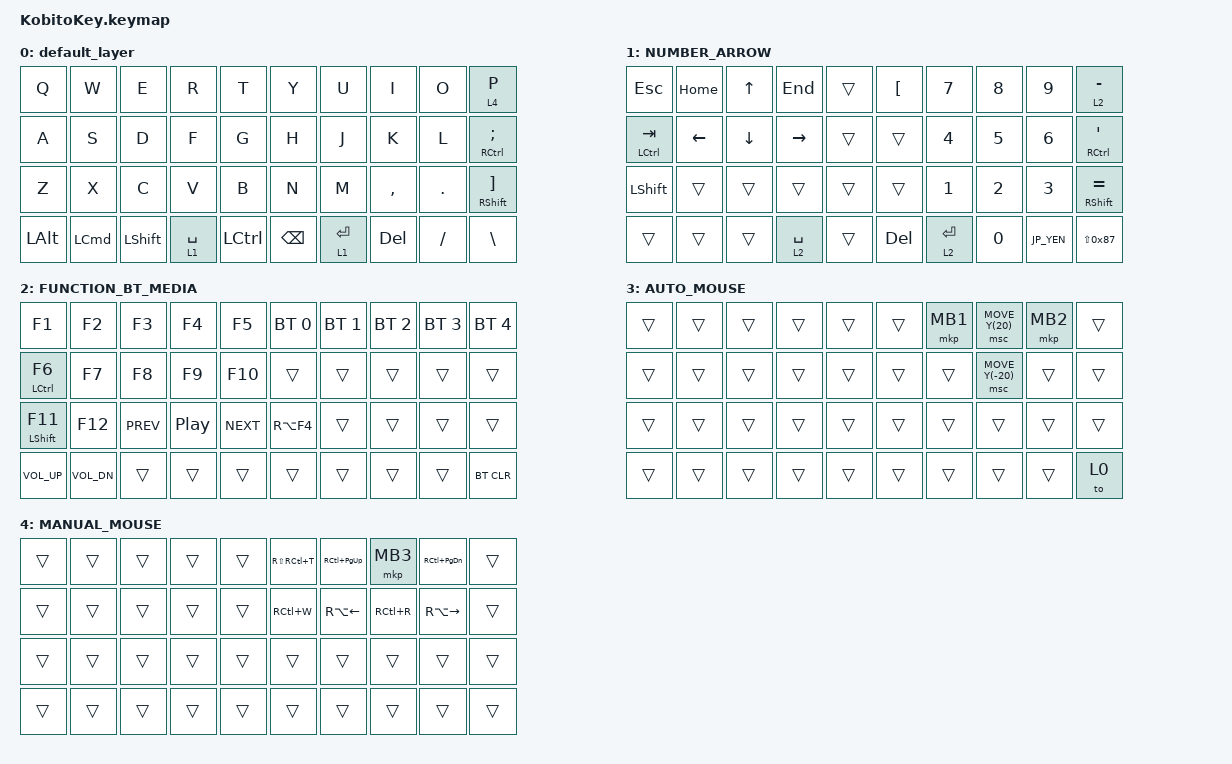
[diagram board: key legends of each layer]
#include <input/processors.dtsi>
#include <behaviors.dtsi>
#include <dt-bindings/zmk/bt.h>
#include <dt-bindings/zmk/keys.h>
#include <dt-bindings/zmk/pointing.h>
#include <dt-bindings/zmk/mouse.h>

// OS設定を日本語キーボードのまま使用するための変換定義

#define JP_DQUOTE       AT                // "
#define JP_AMPERSAND    CARET             // &
#define JP_QUOTE        AMPERSAND         // '
#define JP_EQUAL        UNDER             // =
#define JP_CARET        EQUAL             // ^
#define JP_YEN          0x89              // ¥
#define JP_PLUS         COLON             // +
#define JP_TILDE        PLUS              // ~
#define JP_PIPE         LS(0x89)          // |
#define JP_AT           LEFT_BRACKET      // @
#define JP_COLON        SINGLE_QUOTE      // :
#define JP_ASTERISK     DOUBLE_QUOTES     // *
#define JP_BACKQUOTE    LEFT_BRACE        // `
#define JP_UNDERSCORE   LS(0x87)          // _
#define JP_LBRACKET     RIGHT_BRACKET     // [
#define JP_RBRACKET     BACKSLASH         // ]
#define JP_LPAREN       ASTERISK          // (
#define JP_RPAREN       LEFT_PARENTHESIS  // )
#define JP_LBRACE       RIGHT_BRACE       // {
#define JP_RBRACE       PIPE              // }
#define JP_KANA         LANGUAGE_1        // かな
#define JP_EISU         LANGUAGE_2        // 英数
#define JP_HANZEN       GRAVE             // 半角/全角

/ {
    combos {
        compatible = "zmk,combos";

        combo_eisu {
            timeout-ms = <50>;
            key-positions = <12 13>;
            bindings = <&kp LANG2>;
        };

        combo_kana {
            timeout-ms = <50>;
            key-positions = <16 17>;
            bindings = <&kp LANG1>;
        };

        // combo_esc {
        //     timeout-ms = <50>;
        //     key-positions = <0 1>;
        //     bindings = <&kp ESC>;
        // };

        // combo_tab {
        //     timeout-ms = <50>;
        //     key-positions = <10 11>;
        //     bindings = <&kp TAB>;
        // };
    };

    keymap {
        compatible = "zmk,keymap";

        default_layer {
            bindings = <
&kp Q      &kp W                &kp E       &kp R        &kp T      &kp Y          &kp U        &kp I          &kp O      &lt 4 P
&kp A      &kp S                &kp D       &kp F        &kp G      &kp H          &kp J        &kp K          &kp L      &mt RCTRL SEMICOLON
&kp Z      &kp X                &kp C       &kp V        &kp B      &kp N          &kp M        &kp COMMA      &kp DOT    &mt RIGHT_SHIFT JP_LBRACKET
&kp LEFT_ALT  &kp LEFT_COMMAND  &kp LSHIFT  &lt 1 SPACE  &kp LCTRL  &kp BACKSPACE  &lt 1 ENTER  &kp DELETE     &kp SLASH  &kp JP_RBRACKET
            >;
        };

        layer1 {
            label = "NUMBER_ARROW";
            bindings = <
&kp ESCAPE     &kp HOME  &kp UP_ARROW    &kp END      &trans    &kp JP_AT     &kp N7       &kp N8  &kp N9      &lt 2 MINUS
&mt LCTRL TAB  &kp LEFT  &kp DOWN_ARROW  &kp RIGHT    &trans    &trans        &kp N4       &kp N5  &kp N6      &mt RCTRL JP_COLON
&kp LSHFT      &trans    &trans          &trans       &trans    &trans        &kp N1       &kp N2  &kp N3      &mt RIGHT_SHIFT JP_CARET
&trans         &trans    &trans          &lt 2 SPACE  &trans    &kp DELETE    &lt 2 ENTER  &kp N0  &kp JP_YEN  &kp JP_UNDERSCORE
            >;
        };

        layer2 {
            label = "FUNCTION_BT_MEDIA";
            bindings = <
&kp F1         &kp F2         &kp F3      &kp F4            &kp F5      &bt BT_SEL 0  &bt BT_SEL 1  &bt BT_SEL 2  &bt BT_SEL 3  &bt BT_SEL 4
&mt LCTRL F6   &kp F7         &kp F8      &kp F9            &kp F10     &trans        &trans   &trans  &trans  &trans
&mt LSHFT F11  &kp F12        &kp C_PREV  &kp C_PLAY_PAUSE  &kp C_NEXT  &kp RA(F4)    &trans   &trans  &trans  &trans
&kp C_VOL_UP   &kp C_VOL_DN   &trans      &trans            &trans      &trans        &trans   &trans  &trans  &bt BT_CLR
            >;
        };

        layer3 {
            label = "AUTO_MOUSE";
            bindings = <
&trans  &trans  &trans  &trans  &trans  &trans  &mkp MB1  &msc MOVE_Y(20)   &mkp MB2  &trans
&trans  &trans  &trans  &trans  &trans  &trans  &trans    &msc MOVE_Y(-20)  &trans    &trans
&trans  &trans  &trans  &trans  &trans  &trans  &trans    &trans            &trans    &trans
&trans  &trans  &trans  &trans  &trans  &trans  &trans    &trans            &trans    &to 0
            >;
        };

        layer4 {
            label = "MANUAL_MOUSE";
            bindings = <
&trans  &trans  &trans  &trans  &trans  &kp RS(RC(T))  &kp RC(PAGE_UP)  &mkp MB3   &kp RC(PAGE_DOWN)  &trans
&trans  &trans  &trans  &trans  &trans  &kp RC(W)      &kp RA(LEFT)     &kp RC(R)  &kp RA(RIGHT)      &trans
&trans  &trans  &trans  &trans  &trans  &trans         &trans           &trans     &trans             &trans
&trans  &trans  &trans  &trans  &trans  &trans         &trans           &trans     &trans             &trans
            >;
        };
    };
};
